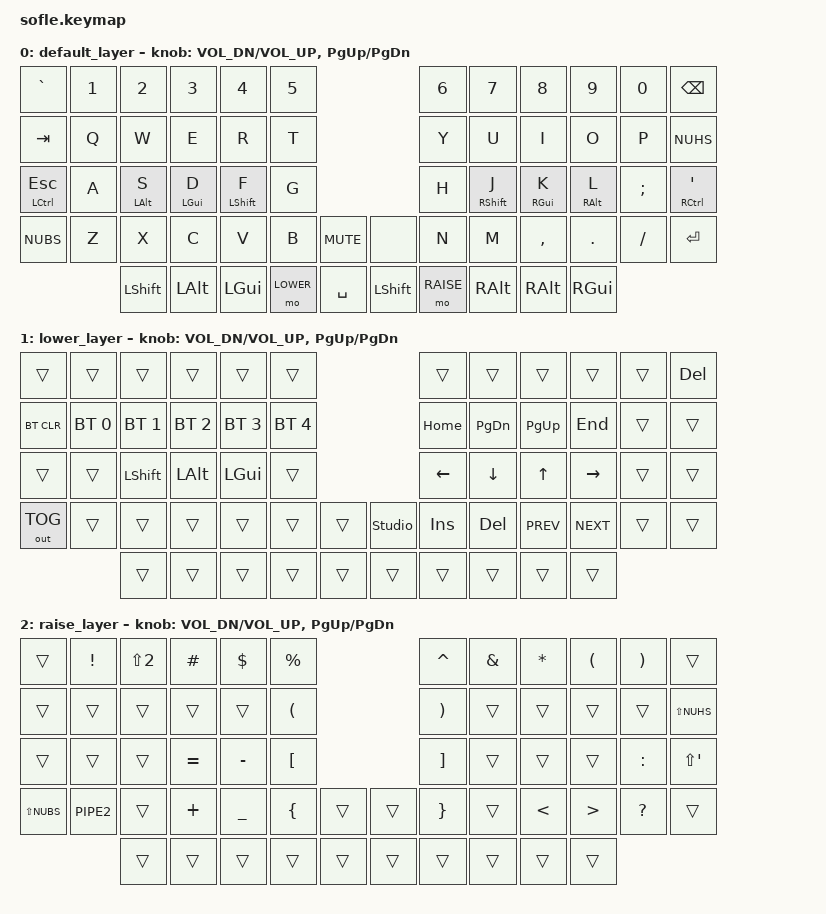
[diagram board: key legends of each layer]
/*
 * Copyright (c) 2020 The ZMK Contributors
 *
 * SPDX-License-Identifier: MIT
 */

#include <behaviors.dtsi>
#include <dt-bindings/zmk/bt.h>
#include <dt-bindings/zmk/keys.h>
#include <dt-bindings/zmk/outputs.h>

#define DEFAULT 0
#define LOWER 1
#define RAISE 2

// 0   1   2   3   4   5           6   7   8   9   10  11
// 12  13  14  15  16  17          18  19  20  21  22  23
// 24  25  26  27  28  29          30  31  32  33  34  35
// 36  37  38  39  40  41  42  43  44  45  46  47  48  49
//         50  51  52  53  54  55  56  57  58  59

#define LEFT_KEYS 0 1 2 3 4 5 12 13 14 15 16 17 24 25 26 27 28 29 36 37 38 39 40 41 42
#define RIGHT_KEYS 6 7 8 9 10 11 18 19 20 21 22 23 30 31 32 33 34 35 43 44 45 46 47 48 49

&sk {
    release-after-ms = <2000>;
    quick-release;
};

&mt {
    flavor = "balanced";
    quick-tap-ms = <200>;
};

/ {
    behaviours {
        mthp: mod_tap_hold_preferred {
            compatible = "zmk,behavior-hold-tap";
            #binding-cells = <2>;
            flavor = "hold-preferred";
            tapping-term-ms = <200>;
            require-prior-idle-ms = <100>;
            bindings = <&kp>, <&kp>;
        };

        lhrm: left_homerow_mods {
            compatible = "zmk,behavior-hold-tap";
            label = "HOMEROW_MODS_LEFT";
            #binding-cells = <2>;
            flavor = "balanced";
            tapping-term-ms = <200>;
            hold-trigger-key-positions = <RIGHT_KEYS>;
            hold-trigger-on-release;
            bindings = <&kp>, <&kp>;
        };

        rhrm: right_homerow_mods {
            compatible = "zmk,behavior-hold-tap";
            label = "HOMEROW_MODS_RIGHT";
            #binding-cells = <2>;
            flavor = "balanced";
            tapping-term-ms = <200>;
            hold-trigger-key-positions = <LEFT_KEYS>;
            hold-trigger-on-release;
            bindings = <&kp>, <&kp>;
        };
    };

    behaviors {
    };

    keymap {
        compatible = "zmk,keymap";

        default_layer {
            // ------------------------------------------------------------------------------------------------------------
            // |  `    |  1  |   2   |  3   |  4   |  5   |                   |  6   |  7    |  8    |  9   |   0   | BKSPC |
            // |  TAB  |  Q  |   W   |  E   |  R   |  T   |                   |  Y   |  U    |  I    |  O   |   P   |   #   |
            // |  CAPS |  A  |   S   |  D   |  F   |  G   |                   |  H   |  J    |  K    |  L   |   ;   |   '   |
            // |   \   |  Z  |   X   |  C   |  V   |  B   |  MUTE  |  |       |  N   |  M    |  ,    |  .   |   /   | ENTER |
            //               | SHIFT | ALT  | GUI  | LOWER|  SPACE |  | SHIFT | RAISE| ALT   | ALT   | GUI  |

            bindings = <
&kp GRAVE       &kp N1  &kp N2        &kp N3        &kp N4         &kp N5                              &kp N6     &kp N7         &kp N8        &kp N9        &kp N0    &kp BSPC
&kp TAB         &kp Q   &kp W         &kp E         &kp R          &kp T                               &kp Y      &kp U          &kp I         &kp O         &kp P     &kp NUHS
&mthp LCTRL ESC &kp A   &lhrm LALT S  &lhrm LGUI D  &lhrm LSHFT F  &kp G                               &kp H      &rhrm RSHFT J  &rhrm RGUI K  &rhrm RALT L  &kp SEMI  &mt RCTL SQT
&kp NUBS        &kp Z   &kp X         &kp C         &kp V          &kp B      &kp C_MUTE    &none      &kp N      &kp M          &kp COMMA     &kp DOT       &kp FSLH  &kp ENTER
                        &kp LSHFT     &kp LALT      &kp LGUI       &mo LOWER  &kp SPACE     &kp LSHFT  &mo RAISE  &kp RALT       &kp RALT      &kp RGUI
            >;

            sensor-bindings = <&inc_dec_kp C_VOL_DN C_VOL_UP &inc_dec_kp PG_UP PG_DN>;
        };

        lower_layer {
            // ------------------------------------------------------------------------------------------------------------
            // |BTCLR| BT1  | BT2   |  BT3  |  BT4  |  BT5   |                |      |       |       |      |       |  DEL  |
            // |     |      |       |       |       |        |                | HOME | PGDN  | PGUP  | END  |       |       |
            // |     |      | SHIFT | ALT   |  GUI  |        |                | <-   |   v   |   ^   |  ->  |       |       |
            // |     |      |       |       |       |        |      |  |      | INS  |  DEL  | PREV  | NEXT |       |       |
            //       |      |       |       |       |        |      |  |      |      |       |       |      |

            bindings = <
&trans        &trans        &trans        &trans        &trans        &trans                                  &trans    &trans     &trans      &trans      &trans  &kp DEL
&bt BT_CLR    &bt BT_SEL 0  &bt BT_SEL 1  &bt BT_SEL 2  &bt BT_SEL 3  &bt BT_SEL 4                            &kp HOME  &kp PG_DN  &kp PG_UP   &kp END     &trans  &trans
&trans        &trans        &kp LSHFT     &kp LALT      &kp LGUI      &trans                                  &kp LEFT  &kp DOWN   &kp UP      &kp RIGHT   &trans  &trans
&out OUT_TOG  &trans        &trans        &trans        &trans        &trans        &trans    &studio_unlock  &kp INS   &kp DEL    &kp C_PREV  &kp C_NEXT  &trans  &trans
                            &trans        &trans        &trans        &trans        &trans    &trans          &trans    &trans     &trans      &trans
            >;

            sensor-bindings = <&inc_dec_kp C_VOL_DN C_VOL_UP &inc_dec_kp PG_UP PG_DN>;
        };

        raise_layer {
            // ------------------------------------------------------------------------------------------------------------
            // |       |  !  |  "  |   £  |   $  |  %   |                   |  ^   |  &    |   *   |   (  |   )   |       |
            // |       |     |     |   -  |   =  |  (   |                   |  )   |       |       |      |       |   ~   |
            // |       |     |     |   _  |   +  |  [   |                   |  ]   |       |       |      |   :   |   @   |
            // |       |     |     |      |      |  {   |        |  |       |  }   |       |   <   |   >  |   ?   |       |
            //         |  |  |     |      |      |      |        |  |       |      |       |       |      |

            bindings = <
&trans        &kp EXCL   &kp LS(N2)  &kp POUND  &kp DLLR   &kp PRCNT                    &kp CARET  &kp AMPS  &kp ASTRK  &kp LPAR  &kp RPAR   &trans
&trans        &trans     &trans      &trans     &trans     &kp LPAR                     &kp RPAR   &trans    &trans     &trans    &trans     &kp LS(NUHS)
&trans        &trans     &trans      &kp EQUAL  &kp MINUS  &kp LBKT                     &kp RBKT   &trans    &trans     &trans    &kp COLON  &kp LS(SQT)
&kp LS(NUBS)  &kp PIPE2  &trans      &kp PLUS   &kp UNDER  &kp LBRC   &trans    &trans  &kp RBRC   &trans    &kp LT     &kp GT    &kp QMARK  &trans
                         &trans      &trans     &trans     &trans     &trans    &trans  &trans     &trans    &trans     &trans
            >;

            sensor-bindings = <&inc_dec_kp C_VOL_DN C_VOL_UP &inc_dec_kp PG_UP PG_DN>;
        };
    };
};
